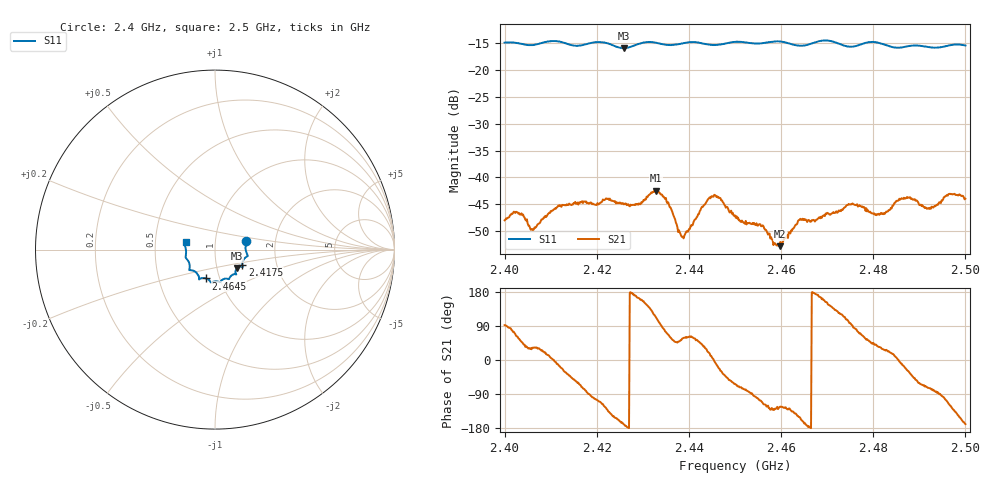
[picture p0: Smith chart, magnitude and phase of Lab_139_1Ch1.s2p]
# Hz S RI R 50
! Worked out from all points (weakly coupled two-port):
!   601 points, 2.4 GHz to 2.5 GHz, reference 50 ohm
!   highest |S21| = -42.47 dB at 2.4328 GHz (marker M1); lowest = -52.8 dB at 2.4597 GHz (marker M2)
!   lowest |S11| = -15.9 dB at 2.4258 GHz (marker M3), VSWR 1.38, Z = 62.3 - j13.2 ohm
!   |S11| at or under -10 dB: start of sweep to end of sweep
!   S12 and S22 are empty: the file has one direction only
!   S11 on the Smith chart (normalised r, x): 2.4 GHz: 1.41, +0.14; 2.4175 GHz: 1.34, -0.23; 2.4645 GHz: 0.86, -0.28; 2.5 GHz: 0.72, +0.06
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2.4e9  0.1731 0.0488  -0.000136 0.00398  0 0  0 0
2.402667e9  0.1748 0.0365  0.0022 0.0042  0 0  0 0
2.406167e9  0.1708 -0.000174  0.00274 0.00169  0 0  0 0
2.4115e9  0.1817 -0.0361  0.00523 -0.000989  0 0  0 0
2.416667e9  0.1527 -0.0743  0.00192 -0.00553  0 0  0 0
2.4175e9  0.1517 -0.0835  0.00101 -0.00585  0 0  0 0
2.425833e9  0.122 -0.1036  -0.00552 -0.00101  0 0  0 0
2.432833e9  0.1155 -0.1378  -0.00295 0.00692  0 0  0 0
2.433333e9  0.1131 -0.1369  -0.00173 0.00731  0 0  0 0
2.438667e9  0.0808 -0.1579  0.00152 0.00235  0 0  0 0
2.445333e9  0.0529 -0.1625  0.0066 0.000203  0 0  0 0
2.45e9  0.0289 -0.1809  0.002 -0.00394  0 0  0 0
2.455667e9  -0.00375 -0.1773  -0.00109 -0.00333  0 0  0 0
2.459667e9  -0.0236 -0.1831  -0.00128 -0.00189  0 0  0 0
2.4645e9  -0.0514 -0.1604  -0.00376 -0.00144  0 0  0 0
2.466667e9  -0.0757 -0.1596  -0.00399 0.000107  0 0  0 0
2.475167e9  -0.1077 -0.1249  -0.000456 0.00562  0 0  0 0
2.483333e9  -0.1408 -0.0903  0.00455 0.00195  0 0  0 0
2.487167e9  -0.1562 -0.055  0.00585 -0.00261  0 0  0 0
2.492e9  -0.1616 -0.0254  0.00147 -0.00496  0 0  0 0
2.4965e9  -0.1679 0.0236  -0.0032 -0.00623  0 0  0 0
2.5e9  -0.1637 0.0426  -0.00621 -0.00119  0 0  0 0
